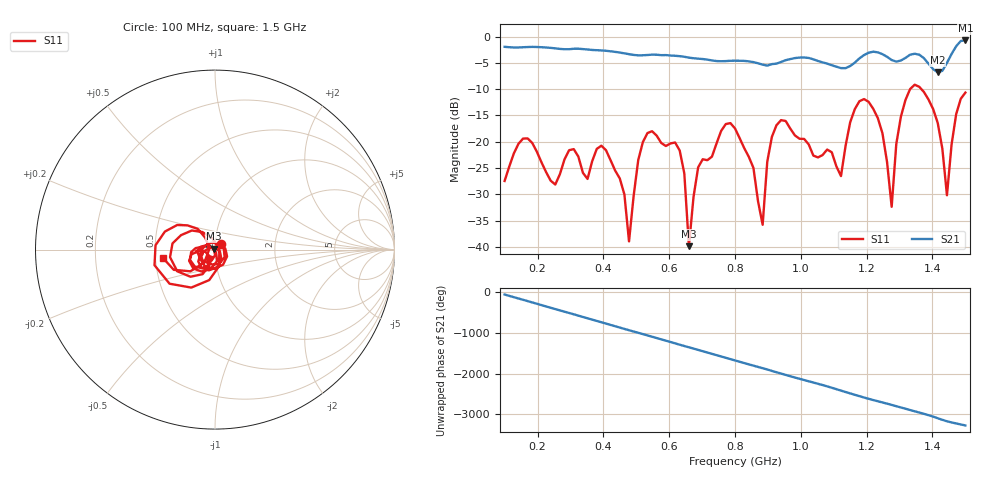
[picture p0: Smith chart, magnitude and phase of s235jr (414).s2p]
! NanoVNA-App
! Date: 2025-09-25 15:07:23
! Start: 100MHz Stop: 1,5GHz Points: 101
! S-Parameter data: F S11 S21 S12 S22
# Hz S RI R 50
!  Frequency  S11_Real  S11_Imag  S21_Real  S21_Imag  S12_Real  S12_Imag  S22_Real  S22_Imag
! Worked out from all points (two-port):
!   101 points, 100 MHz to 1.5 GHz, reference 50 ohm
!   highest |S21| = -0.75 dB at 1.5 GHz (marker M1); lowest = -6.8 dB at 1.416 GHz (marker M2)
!   |S21| within 3 dB of the highest: start of sweep to 633.4 MHz; 1.187 GHz to 1.259 GHz (71.79 MHz wide, 5.87 % of centre) (the widest 2 of 4)
!   lowest |S11| = -39.9 dB at 660 MHz (marker M3), VSWR 1.02, Z = 49.2 + j0.596 ohm
!   |S11| at or under -10 dB: start of sweep to 1.332 GHz; 1.366 GHz to end of sweep
!   S12 and S22 are empty: the file has one direction only
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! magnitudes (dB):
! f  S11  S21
! 100 MHz  -27.5  -2.0
! 156 MHz  -19.4  -2.0
! 338 MHz  -25.9  -2.4
! 408 MHz  -21.6  -2.7
! 478 MHz  -39.0  -3.4
! 520 MHz  -20.1  -3.6
! 576 MHz  -20.3  -3.5
! 632 MHz  -21.7  -3.7
! 660 MHz  -39.9  -4.0
! 688 MHz  -24.9  -4.2
! 800 MHz  -17.5  -4.6
! 884 MHz  -35.8  -5.4
! 926 MHz  -16.9  -5.2
! 1.038 GHz  -22.6  -4.3
! 1.122 GHz  -26.5  -6.0
! 1.206 GHz  -12.4  -3.1
! 1.276 GHz  -32.4  -4.5
! 1.29 GHz  -20.5  -4.8
! 1.332 GHz  -10.0  -3.5
! 1.416 GHz  -16.5  -6.8
! 1.444 GHz  -30.2  -5.0
! 1.5 GHz  -10.7  -0.8
